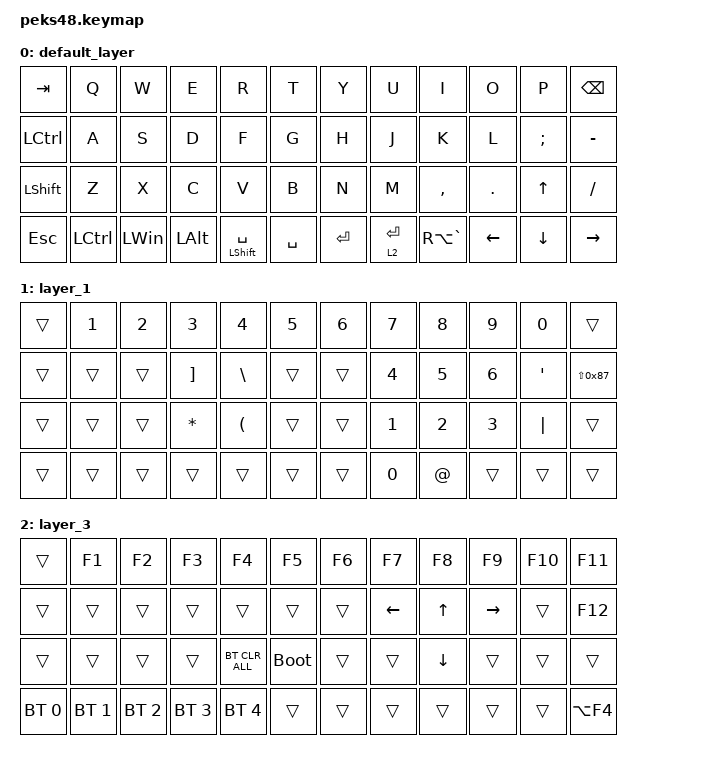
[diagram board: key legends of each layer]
#include <input/processors.dtsi>
#include <dt-bindings/zmk/input_transform.h>
#include <zephyr/dt-bindings/input/input-event-codes.h>
#include <behaviors.dtsi>
#include <dt-bindings/zmk/bt.h>
#include <dt-bindings/zmk/keys.h>

// Conversion definition for using Japanese keyboard with OS settings

#define JP_DQUOTE       AT                // "
#define JP_AMPERSAND    CARET             // &
#define JP_QUOTE        AMPERSAND         // '
#define JP_EQUAL        UNDER             // =
#define JP_CARET        EQUAL             // ^
#define JP_YEN          0x89              // ¥
#define JP_PLUS         COLON             // +
#define JP_TILDE        PLUS              // ~
#define JP_PIPE         LS(0x89)          // |
#define JP_AT           LEFT_BRACKET      // @
#define JP_COLON        SINGLE_QUOTE      // :
#define JP_ASTERISK     DOUBLE_QUOTES     // *
#define JP_BACKQUOTE    LEFT_BRACE        // `
#define JP_UNDERSCORE   LS(0x87)          // _
#define JP_LBRACKET     RIGHT_BRACKET     // [
#define JP_RBRACKET     BACKSLASH         // ]
#define JP_LPAREN       ASTERISK          // (
#define JP_RPAREN       LEFT_PARENTHESIS  // )
#define JP_LBRACE       RIGHT_BRACE       // {
#define JP_RBRACE       PIPE              // }
#define JP_KANA         LANGUAGE_1        // かな
#define JP_EISU         LANGUAGE_2        // 英数
#define JP_HANZEN       GRAVE             // 半角/全角

&mt {
    flavor = "balanced";
    quick-tap-ms = <0>;
};

/ {
    keymap {
        compatible = "zmk,keymap";

        default_layer {
            bindings = <
&kp TAB     &kp Q      &kp W     &kp E     &kp R             &kp T        &kp Y      &kp U        &kp I          &kp O           &kp P           &kp BACKSPACE
&kp LCTRL   &kp A      &kp S     &kp D     &kp F             &kp G        &kp H      &kp J        &kp K          &kp L           &kp SEMICOLON   &kp MINUS
&kp LSHIFT  &kp Z      &kp X     &kp C     &kp V             &kp B        &kp N      &kp M        &kp COMMA      &kp DOT         &kp UP_ARROW    &kp SLASH
&kp ESC     &kp LCTRL  &kp LWIN  &kp LALT  &mt LSHIFT SPACE  &kp SPACE    &kp ENTER  &lt 2 ENTER  &kp RA(GRAVE)  &kp LEFT_ARROW  &kp DOWN_ARROW  &kp RIGHT_ARROW
            >;
        };

        layer_1 {
            bindings = <
&trans  &kp NUMBER_1  &kp NUMBER_2  &kp NUMBER_3     &kp NUMBER_4     &kp NUMBER_5    &kp NUMBER_6  &kp NUMBER_7  &kp NUMBER_8   &kp NUMBER_9  &kp NUMBER_0  &trans
&trans  &trans        &trans        &kp JP_LBRACKET  &kp JP_RBRACKET  &trans          &trans        &kp NUMBER_4  &kp NUMBER_5   &kp NUMBER_6  &kp JP_COLON  &kp JP_UNDERSCORE
&trans  &trans        &trans        &kp JP_LPAREN    &kp JP_RPAREN    &trans          &trans        &kp NUMBER_1  &kp NUMBER_2   &kp NUMBER_3  &kp PIPE      &trans
&trans  &trans        &trans        &trans           &trans           &trans          &trans        &kp NUMBER_0  &kp JP_DQUOTE  &trans        &trans        &trans
            >;
        };

        layer_3 {
            bindings = <
&trans        &kp F1        &kp F2        &kp F3        &kp F4          &kp F5         &kp F6  &kp F7          &kp F8          &kp F9           &kp F10  &kp F11
&trans        &trans        &trans        &trans        &trans          &trans         &trans  &kp LEFT_ARROW  &kp UP_ARROW    &kp RIGHT_ARROW  &trans   &kp F12
&trans        &trans        &trans        &trans        &bt BT_CLR_ALL  &bootloader    &trans  &trans          &kp DOWN_ARROW  &trans           &trans   &trans
&bt BT_SEL 0  &bt BT_SEL 1  &bt BT_SEL 2  &bt BT_SEL 3  &bt BT_SEL 4    &trans         &trans  &trans          &trans          &trans           &trans   &kp LA(F4)
            >;
        };
    };
};
